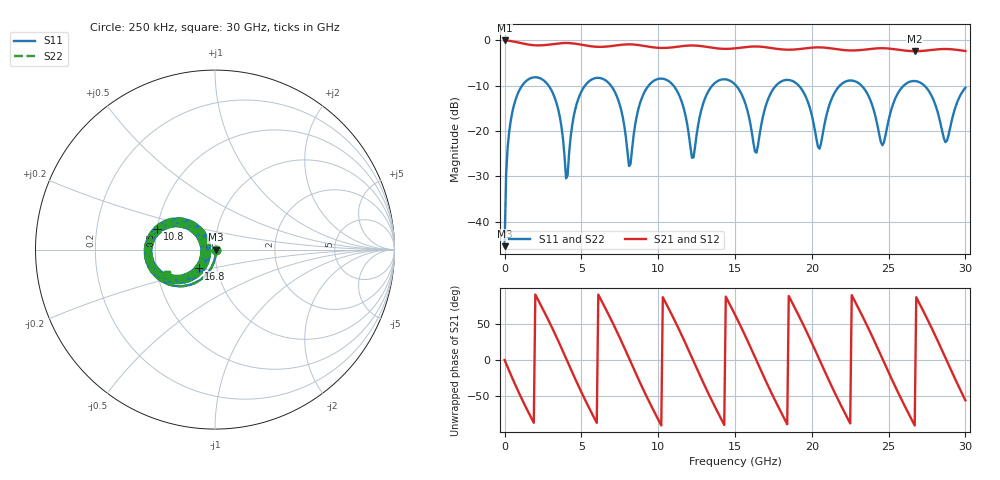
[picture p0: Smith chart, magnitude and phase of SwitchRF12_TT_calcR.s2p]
! Port 1 = P1 P2
! Port 2 = P2 P2
# hz S ri R 50
! freq  reS11  imS11  reS21  imS21  reS12  imS12  reS22  imS22
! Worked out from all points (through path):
!   301 points, 250 kHz to 30 GHz, reference 50 ohm
!   highest |S21| = -0.05 dB at 250 kHz (marker M1); lowest = -2.4 dB at 26.7 GHz (marker M2)
!   lowest |S11| = -45.4 dB at 250 kHz (marker M3), VSWR 1.01, Z = 50.5 - j0.0104 ohm
!   |S11| at or under -10 dB: 19.15 GHz to 21.83 GHz (2.676 GHz wide, 13.1 % of centre); 23.24 GHz to 25.98 GHz (2.748 GHz wide, 11.2 % of centre); 27.33 GHz to end of sweep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
!   |S22| runs from -45.4 to -8.2 dB; largest |S21 - S12| = 0
!   S11 on the Smith chart (normalised r, x): 250 kHz: 1.01, -0.00; 10.8 GHz: 0.50, +0.13; 16.8 GHz: 0.82, -0.17; 30 GHz: 0.56, -0.17
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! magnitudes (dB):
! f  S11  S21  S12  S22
! 250 kHz  -45.4  0.0  0.0  -45.4
! 200.2 MHz  -23.6  -0.1  -0.1  -23.6
! 1 GHz  -10.8  -0.6  -0.6  -10.8
! 3.1 GHz  -11.4  -0.9  -0.9  -11.4
! 4 GHz  -30.4  -0.6  -0.6  -30.4
! 5.1 GHz  -10.7  -1.0  -1.0  -10.7
! 7.1 GHz  -10.9  -1.2  -1.2  -10.9
! 8.1 GHz  -27.7  -0.9  -0.9  -27.7
! 10.1 GHz  -8.5  -1.7  -1.7  -8.5
! 10.8 GHz  -9.3  -1.6  -1.6  -9.3
! 12.2 GHz  -25.9  -1.2  -1.2  -25.9
! 13.3 GHz  -11.1  -1.5  -1.5  -11.1
! 15.1 GHz  -10.1  -1.8  -1.8  -10.1
! 16.3 GHz  -24.5  -1.4  -1.4  -24.5
! 16.8 GHz  -17.1  -1.5  -1.5  -17.1
! 18.5 GHz  -8.8  -2.1  -2.1  -8.8
! 20.1 GHz  -18.0  -1.6  -1.6  -18.0
! 22.4 GHz  -8.9  -2.2  -2.2  -8.9
! 25.1 GHz  -16.2  -1.9  -1.9  -16.2
! 26.7 GHz  -9.0  -2.4  -2.4  -9.0
! 28.7 GHz  -22.4  -1.9  -1.9  -22.4
! 30 GHz  -10.5  -2.4  -2.4  -10.5
